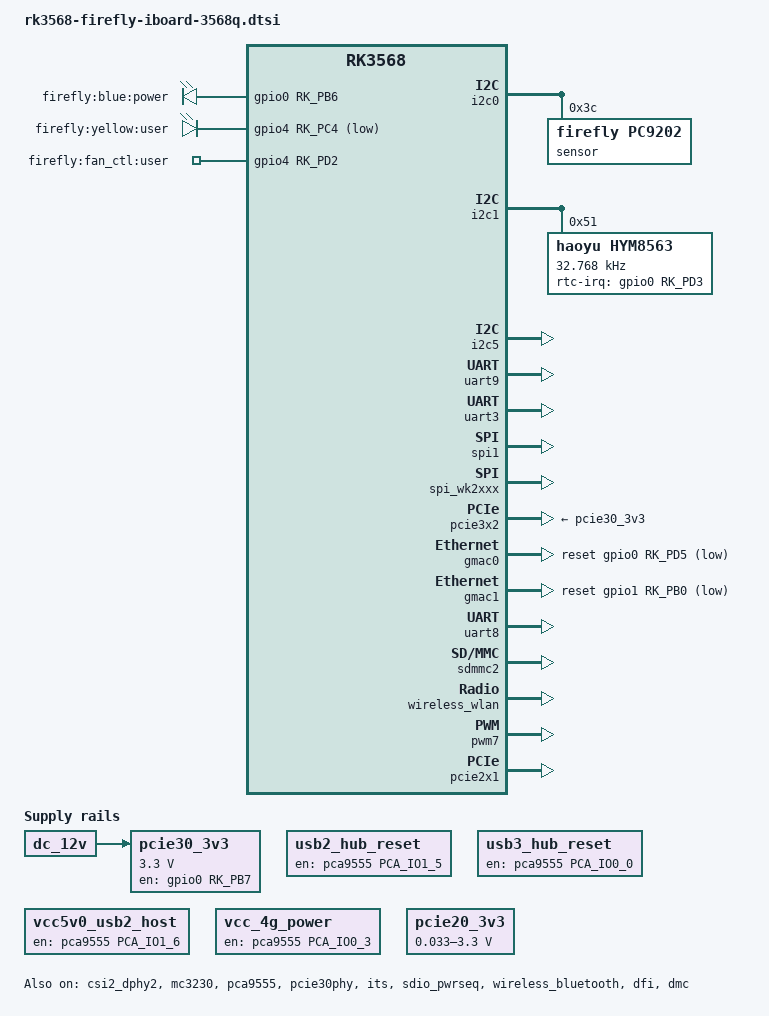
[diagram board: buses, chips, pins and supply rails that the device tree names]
// SPDX-License-Identifier: (GPL-2.0+ OR MIT)
/*
 * Copyright (c) 2020 Rockchip Electronics Co., Ltd.
 *
 */

#include "rk3568-firefly-port.dtsi"

/ {

	usb2_hub_reset: usb2-hub-reset-regulator {
		compatible = "regulator-fixed";
		enable-active-high;
		gpio = <&pca9555 PCA_IO1_5 GPIO_ACTIVE_HIGH>;
		regulator-name = "usb2_hub_reset_n";
		regulator-always-on;
	};

	usb3_hub_reset: usb3-hub-reset-regulator {
		compatible = "regulator-fixed";
		enable-active-high;
		gpio = <&pca9555 PCA_IO0_0 GPIO_ACTIVE_HIGH>;
		regulator-name = "usb3_hub_reset_n";
		regulator-always-on;
	};

	vcc5v0_usb2_host: vcc5v0-usb2-host-regulator {
		compatible = "regulator-fixed";
		enable-active-high;
		gpio = <&pca9555 PCA_IO1_6 GPIO_ACTIVE_HIGH>;
		regulator-name = "vcc5v0_usb2_host_en";
		regulator-always-on;
	};

    vcc_4g_power: vcc-4g-power-regulator {
        compatible = "regulator-fixed";
        enable-active-high;
        gpio = <&pca9555 PCA_IO0_3 GPIO_ACTIVE_HIGH>;
        regulator-name = "vcc_4g_power_en";
        regulator-always-on;
    };

	firefly_leds: leds {
		status = "okay";
		compatible = "gpio-leds";

		power_led: power {
			label = "firefly:blue:power";
			linux,default-trigger = "ir-power-click";
			default-state = "on";
			gpios = <&gpio0 RK_PB6 GPIO_ACTIVE_HIGH>;
			pinctrl-names = "default";
			pinctrl-0 = <&led_power>;
		};

		user_led: user {
			label = "firefly:yellow:user";
			linux,default-trigger = "ir-user-click";
			default-state = "off";
			gpios = <&gpio4 RK_PC4 GPIO_ACTIVE_LOW>;
			pinctrl-names = "default";
			pinctrl-0 = <&led_user>;
		};

		fan_ctl: fan-ctl {
			label = "firefly:fan_ctl:user";
			linux,default-trigger = "ir-user-click";
			default-state = "on";
			gpios = <&gpio4 RK_PD2 GPIO_ACTIVE_HIGH>;
		};
	};

//	tp_power: tp-power-regulator {
//		compatible = "regulator-fixed";
//		enable-active-high;
//		gpio = <&gpio3 RK_PA4 GPIO_ACTIVE_HIGH>;
//		pinctrl-names = "default";
//		pinctrl-0 = <&tp_power_en>;
//		regulator-name = "tp_power_en";
//		regulator-always-on;
//	};

	pcie20_3v3: gpio-regulator {
		compatible = "regulator-gpio";
		regulator-name = "pcie20_3v3";
		regulator-min-microvolt = <0100000>;
		regulator-max-microvolt = <3300000>;
		gpios = <&pca9555 PCA_IO0_2 GPIO_ACTIVE_HIGH>;
		gpios-states = <0x1>;
		states = <0100000 0x0
			  3300000 0x1>;
	};
};

&vcc5v0_host {
	gpio = <&pca9555 PCA_IO1_4 GPIO_ACTIVE_HIGH>;
	/delete-property/ pinctrl-names;
	/delete-property/ pinctrl-0;
};


&csi2_dphy0 {
	status = "disabled";
};

&csi2_dphy1 {
	status = "disabled";
	/*
	* dphy1 only used for split mode,
	* can be used  concurrently  with dphy2
	* full mode and split mode are mutually exclusive
	*/
};

&csi2_dphy2 {
	status = "okay";
	/*
	* dphy2 only used for split mode,
	* can be used  concurrently  with dphy1
	* full mode and split mode are mutually exclusive
	*/
};

&rkisp_vir0 {
	status = "disabled";
};

&rkisp_vir1 {
	status = "disabled";
};

&i2c0 {
    status = "okay";
    sensor@3c{
        status = "okay";
        compatible = "firefly,pc9202";
        reg = <0x3c>;
        //wd-en-gpio = <&gpio3 23 GPIO_ACTIVE_HIGH>;
    };
};

&i2c1 {
	status = "okay";
	hym8563: hym8563@51 {
		status = "okay";
		compatible = "haoyu,hym8563";
		reg = <0x51>;
		#clock-cells = <0>;
		rtc-irq-gpio = <&gpio0 RK_PD3 IRQ_TYPE_EDGE_FALLING>;
		clock-frequency = <32768>;
		//clock-output-names = "xin32k";
		/* rtc_int is not connected */
	};


    gslx680: gslx680@41 {
        status = "disabled";
        compatible = "gslX680";
        reg = <0x41>;
        screen_max_x = <800>;
        screen_max_y = <1280>;
        touch-gpio = <&gpio3 RK_PA3 IRQ_TYPE_LEVEL_LOW>;
        reset-gpio = <&gpio3 RK_PA5 GPIO_ACTIVE_HIGH>;
        flip-x = <1>;
        flip-y = <0>;
        swap-xy = <0>;
        gsl,fw = <1>;
    };

	/delete-node/ xc6130@23;
};

&vcc_camera {
	status = "disabled";
};

&pwm11 {
	status = "disabled";
};


&i2c5 {
    status = "okay";
    /delete-node/ hym8563@51;
};

&mc3230 {
    status = "okay";
};

&pca9555 {
    status = "okay";
};

&mc3230 {
    status = "okay";
};

&uart9 {
	pinctrl-names = "default";
	pinctrl-0 = <&uart9m1_xfer>;
	status = "okay";
};

&uart3 {
	pinctrl-names = "default";
	pinctrl-0 = <&uart3m0_xfer>;
	status = "okay";
};

&spi1 {
	status = "okay";
};

&spi_wk2xxx {
	status = "okay";
};

&pcie30_3v3 {
	compatible = "regulator-fixed";
	regulator-min-microvolt = <3300000>;
	enable-active-high;
	gpio = <&gpio0 RK_PB7 GPIO_ACTIVE_HIGH>;
	startup-delay-us = <10000>;
	vin-supply = <&dc_12v>;
	/delete-property/ gpios-states;
	/delete-property/ states;
};

&pcie30phy {
       status = "okay";
};

&pcie3x2 {
    reset = <&gpio0 RK_PC6 GPIO_ACTIVE_HIGH>;
    vpcie3v3-supply = <&pcie30_3v3>;
    status = "okay";
};

&its {
    status = "okay";
};

&can1 {
    status = "disabled";
};

&can2 {
    status = "disabled";
};

/delete-node/ &vcc3v3_vga;

&gmac0 {
    status = "okay";
    tx_delay = <0x39>;
    rx_delay = <0x2c>;
	snps,reset-gpio = <&gpio0 RK_PD5 GPIO_ACTIVE_LOW>;
//	snps,reset-gpio = <&gpio2 RK_PD3 GPIO_ACTIVE_LOW>;
};

&gmac1 {
    status = "okay";
    tx_delay = <0x49>;
    rx_delay = <0x28>;
	snps,reset-gpio = <&gpio1 RK_PB0 GPIO_ACTIVE_LOW>;
};

&rgmii_phy0 {
	led_status_value = <0x6940>;
};

&rgmii_phy1 {
	led_status_value = <0x6940>;
};

&uart8 {
	status = "okay";
};

&sdio_pwrseq {
	status = "okay";
	reset-gpios = <&gpio3 RK_PD5 GPIO_ACTIVE_LOW>;
	post-power-on-delay-ms = <100>;
};

&sdmmc2 {
	status = "okay";
};

&wireless_wlan {
	wifi_chip_type = "ap6275s";
	status = "okay";
};

&wireless_bluetooth {
	BT,reset_gpio    = <&gpio1 RK_PB1 GPIO_ACTIVE_HIGH>;
	BT,wake_gpio     = <&gpio1 RK_PA4 GPIO_ACTIVE_HIGH>;
	BT,wake_host_irq = <&gpio1 RK_PB2 GPIO_ACTIVE_HIGH>;
	status = "okay";
};

&spdif_8ch{
    status = "disabled";
};

&rk809_codec {
    spk-ctl-gpios = <&pca9555 PCA_IO0_7 GPIO_ACTIVE_HIGH>;
	/delete-property/ pinctrl-1;
    hp-ctl-gpios = <&gpio2 RK_PC1 GPIO_ACTIVE_LOW>;
    hp-det-adc-value = <200>;
    hp-adc-drift-scope = <200>;
};

&rk809 {
    rtc {
        status = "disabled";
    };
};

&pwm7 {
	status = "okay";
};

&sata2 {
	status = "disabled";
	/delete-property/ pinctrl-0;
};

&pcie2x1 {
	reset = <&pca9555 PCA_IO0_2 GPIO_ACTIVE_HIGH>;
	status = "okay";
};

&dfi {
	status = "okay";
};

&dmc {
	status = "okay";
};

&pinctrl {

	leds {
	    led_power: led-power {
	        rockchip,pins = <0 RK_PC0 RK_FUNC_GPIO &pcfg_pull_none>;
	    };

		led_user: led-user {
			rockchip,pins = <4 RK_PC4 RK_FUNC_GPIO &pcfg_pull_none>;
		};
	};

//	touchscreen {
//		tp_power_en: tp-power-en {
//			rockchip,pins = <3 RK_PA4 RK_FUNC_GPIO &pcfg_pull_none>;
//		};
//	};

};
